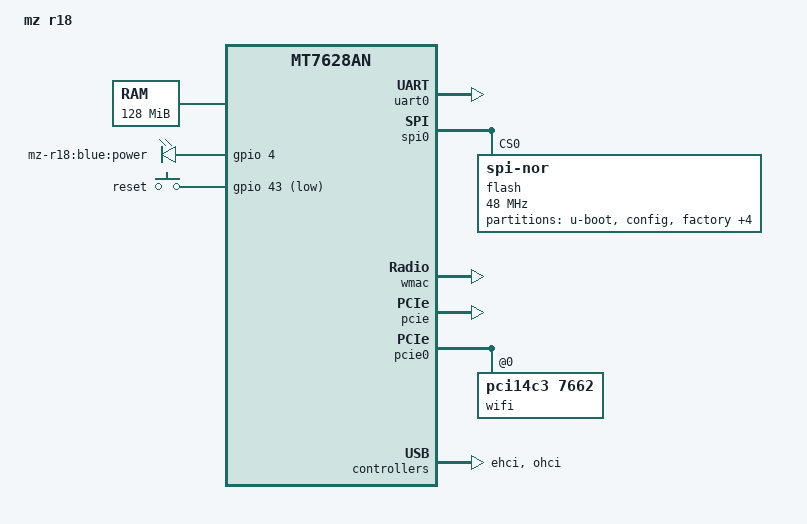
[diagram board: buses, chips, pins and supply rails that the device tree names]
/dts-v1/;

#include "mt7628an.dtsi"

/ {
    compatible = "mz,mz-r18", "mediatek,mt7628an-soc";
    model = "mz r18";

    memory@0 {
        device_type = "memory";
        reg = <0x0 0x8000000>;
    };

    chosen {
        bootargs = "console=ttyS0,57600";
    };

    leds {
        compatible = "gpio-leds";

        power: power {
            label = "mz-r18:blue:power";
            gpios = <&gpio 4 GPIO_ACTIVE_HIGH>;
            default-state = "keep";
        };
    };

    keys {
        compatible = "gpio-keys";

        reset {
            label = "reset";
            gpios = <&gpio 43 GPIO_ACTIVE_LOW>;
            linux,code = <KEY_RESTART>;
        };
    };
};

&uart0 {
    status = "okay";
};

&spi0 {
    status = "okay";

    flash@0 {
        compatible = "spi-nor";
        reg = <0>;
        spi-max-frequency = <48000000>;

        partitions {
            compatible = "fixed-partitions";
            #address-cells = <1>;
            #size-cells = <1>;

            partition@0 {
                label = "u-boot";
                reg = <0x0 0x30000>;
                read-only;
            };

            partition@30000 {
                label = "config";
                reg = <0x30000 0x10000>;
                read-only;
            };

            factory: partition@40000 {
                label = "factory";
                reg = <0x40000 0x10000>;
                read-only;
            };

            partition@50000 {
                label = "kernel";
                reg = <0x50000 0x13af80>;
            };

            partition@18af80 {
                label = "rootfs";
                reg = <0x18af80 0xdc5080>;
            };

            partition@f50000 {
                label = "storage";
                reg = <0xf50000 0xb0000>;
            };

            partition@1000000 {
                label = "firmware";
                reg = <0x1000000 0xf00000>;
            };
        };
    };
};

&ethernet {
    mtd-mac-address = <&factory 0x4>;
    mediatek,portmap = "wllll";
};

&esw {
    mediatek,portmap = <0x3e>;
    mediatek,led_polarity = <1>;
};

&wmac {
    status = "okay";
    mtd-mac-address = <&factory 0x4>;
    mediatek,mtd-eeprom = <&factory 0x0>;
};

&pcie {
    status = "okay";
};

&pcie0 {
    wifi@0,0 {
        compatible = "pci14c3,7662";
        reg = <0x0000 0 0 0 0>;
        mediatek,mtd-eeprom = <&factory 0x8000>;
        ieee80211-freq-limit = <5000000 6000000>;
        
        /* MT7612E 5GHz PCIe无线网卡 */
        pci-id = "14c3:7662";
    };
};

&ehci {
    status = "okay";
};

&ohci {
    status = "okay";
};

&i2c {
    status = "disabled";  // 没有检测到I2C设备，禁用
};

&state_default {
    gpio {
        groups = "i2c", "refclk", "wdt", "wled_an";
        function = "gpio";
    };
};
